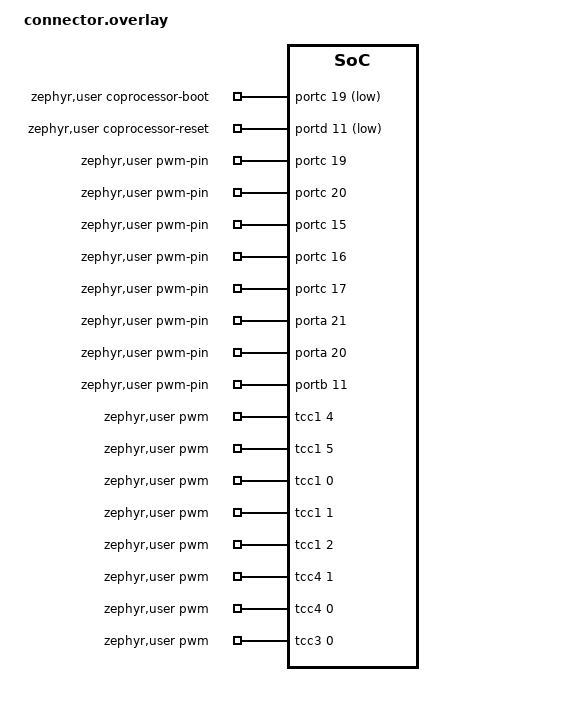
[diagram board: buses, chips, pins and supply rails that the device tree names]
/*
 * Copyright (c) Arduino s.r.l. and/or its affiliated companies
 *
 * SPDX-License-Identifier: Apache-2.0
 */

#include <zephyr/dt-bindings/gpio/gpio.h>
#include <zephyr/dt-bindings/pwm/pwm.h>

// UART1 (sercom1) ESP8266 com
&sercom1 {
	/delete-property/ zephyr,deferred-init;
};

// PD11 (D7) ESP8266 reset line
&tcc2 {
	/delete-property/ pinctrl-2;
	pinctrl-names = "default", "sleep";
};

/*
 * The ESP-AT module sits on an external connector and may not be fitted, so
 * it is not probed at boot (its driver would hold boot for 10 s waiting for
 * it). WiFi.status() initializes it on first use, once initVariant() has
 * checked its firmware (variant.cpp).
 */
&esp8266 {
	zephyr,deferred-init;
};

/*
 * sercom6 is the only console here: unlike the bare module, log output is not
 * mirrored on USB CDC, and the shell lives on the same UART.
 */
&log_uarts {
	uarts = <&sercom6>;
};

/ {
	chosen {
		zephyr,console = &sercom6;
		zephyr,shell-uart = &sercom6;
	};

	zephyr,user {
		/*
		 * ESP8266 firmware update through the WiFi SerialBridge example: USB
		 * DTR drives GPIO0 (D2) and RTS drives reset (D7), as on the usual
		 * esptool auto-reset circuit.
		 */
		coprocessor-serial = <&sercom1>;
		coprocessor-boot-gpios = <&portc 19 GPIO_ACTIVE_LOW>;
		coprocessor-reset-gpios = <&portd 11 GPIO_ACTIVE_LOW>;

		/*
		 * sercom1 intentionally excluded: dedicated to the ESP8266 AT UART,
		 * not exposed as a generic Arduino Serial object. Serial1 = sercom6
		 * (user header, also the debug console), Serial2 = sercom0 (RS485).
		 */
		serials = <&sercom6>, <&sercom0>;

		/* D7 (&portd 11) intentionally excluded: dedicated ESP8266 reset line. */
		pwm-pin-gpios = <&portc 19 0>,
				<&portc 20 0>,
				<&portc 15 0>,
				<&portc 16 0>,
				<&portc 17 0>,
				<&porta 21 0>,
				<&porta 20 0>,
				<&portb 11 0>,
				<&porta 23 0>,
				<&portb 24 0>;

		pwms = <&tcc1 4 PWM_HZ(500) 0>,
		       <&tcc1 5 PWM_HZ(500) 0>,
		       <&tcc1 0 PWM_HZ(500) PWM_POLARITY_INVERTED>,
		       <&tcc1 1 PWM_HZ(500) PWM_POLARITY_INVERTED>,
		       <&tcc1 2 PWM_HZ(500) PWM_POLARITY_INVERTED>,
		       <&tcc4 1 PWM_HZ(500) 0>,
		       <&tcc4 0 PWM_HZ(500) 0>,
		       <&tcc3 0 PWM_HZ(500) 0>,
		       <&tcc5 1 PWM_HZ(500) 0>,
		       <&tcc6 1 PWM_HZ(500) 0>;
	};
};
